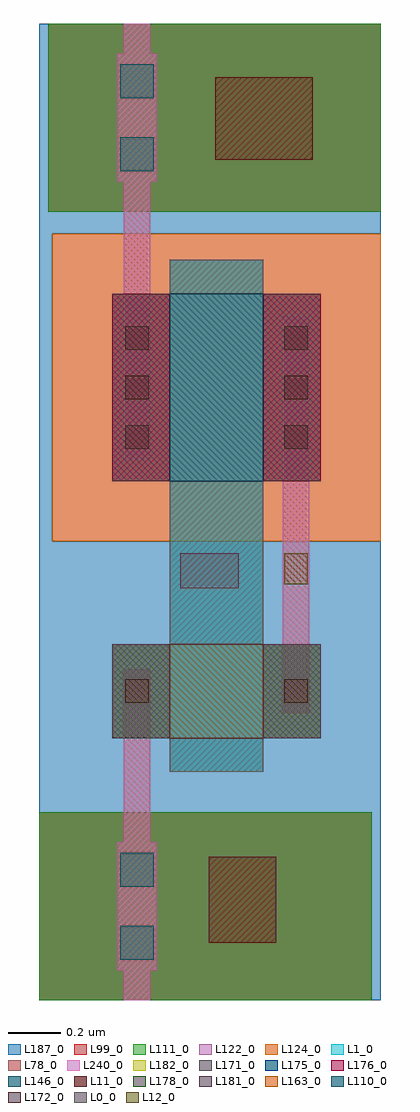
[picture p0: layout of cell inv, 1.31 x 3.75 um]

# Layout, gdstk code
import gdstk
lib = gdstk.Library(unit=1e-6, precision=1e-09)
def R(c, l, rs):  # rectangles x0, y0, x1, y1
    for r in rs: c.add(gdstk.rectangle(r[:2], r[2:], *l))
def A(c, l, x, y, w, h, nx, ny, dx, dy):  # array of equal rectangles
    R(c, l, [(x+i*dx, y+j*dy, x+i*dx+w, y+j*dy+h) for i in range(nx) for j in range(ny)])
def P(c, l, *ps):  # polygons
    for p in ps: c.add(gdstk.Polygon(p, *l))
L0_0 = (0, 0)
L1_0 = (1, 0)
L11_0 = (11, 0)
L12_0 = (12, 0)
L78_0 = (78, 0)
L99_0 = (99, 0)
L110_0 = (110, 0)
L111_0 = (111, 0)
L122_0 = (122, 0)
L124_0 = (124, 0)
L146_0 = (146, 0)
L163_0 = (163, 0)
L171_0 = (171, 0)
L172_0 = (172, 0)
L175_0 = (175, 0)
L176_0 = (176, 0)
L178_0 = (178, 0)
L181_0 = (181, 0)
L182_0 = (182, 0)
L187_0 = (187, 0)
L240_0 = (240, 0)

inv = lib.new_cell('inv')
R(inv, L0_0, [(-0.805,0.79,-0.58,0.925)])
R(inv, L1_0, [(-0.845,0.085,-0.485,2.05)])
R(inv, L11_0, [(-0.695,-0.57,-0.435,-0.24), (-0.67,2.435,-0.295,2.75)])
R(inv, L12_0, [(-0.405,0.805,-0.315,0.925)])
R(inv, L78_0, [(-0.41,0.31,-0.31,1.835)])
P(inv, L78_0, [(-0.92,2.955),(-0.92,2.84),(-0.895,2.84),(-0.895,2.35),(-0.92,2.35),(-0.92,1.285),(-1.02,1.285),(-1.02,2.35),(-1.045,2.35),(-1.045,2.84),(-1.02,2.84),(-1.02,2.955)],
  [(-0.92,0.48),(-0.92,-0.185),(-0.895,-0.185),(-0.895,-0.675),(-0.92,-0.675),(-0.92,-0.79),(-1.02,-0.79),(-1.02,-0.675),(-1.045,-0.675),(-1.045,-0.185),(-1.02,-0.185),(-1.02,0.48)])
R(inv, L99_0, [(-1.345,-0.79,-0.07,-0.07), (-1.31,2.235,-0.035,2.955)])
R(inv, L110_0, [(-1.035,-0.635,-0.905,-0.505), (-1.035,-0.355,-0.905,-0.225), (-1.035,2.39,-0.905,2.52), (-1.035,2.67,-0.905,2.8)])
R(inv, L111_0, [(-1.345,-0.79,-0.07,-0.07), (-1.31,2.235,-0.035,2.955)])
R(inv, L122_0, [(-1.295,0.97,-0.035,2.15)])
R(inv, L124_0, [(-1.295,0.97,-0.035,2.15)])
R(inv, L146_0, [(-0.845,1.2,-0.485,1.92)])
R(inv, L163_0, [(-0.845,0.215,-0.485,0.575)])
R(inv, L171_0, [(-0.845,0.085,-0.485,0.215), (-0.845,0.575,-0.485,1.2), (-0.845,1.92,-0.485,2.05)])
A(inv, L172_0, -1.015, 1.325, 0.09, 0.09, 1, 3, 0, 0.19)
A(inv, L172_0, -0.405, 1.325, 0.09, 0.09, 1, 3, 0, 0.19)
R(inv, L172_0, [(-1.015,0.35,-0.925,0.44), (-0.405,0.35,-0.315,0.44)])
R(inv, L175_0, [(-1.065,1.2,-0.845,1.92), (-0.485,1.2,-0.265,1.92)])
R(inv, L176_0, [(-1.065,1.2,-0.845,1.92), (-0.485,1.2,-0.265,1.92)])
R(inv, L178_0, [(-1.065,0.215,-0.845,0.575), (-0.485,0.215,-0.265,0.575)])
R(inv, L181_0, [(-1.065,0.215,-0.845,0.575), (-0.485,0.215,-0.265,0.575)])
R(inv, L182_0, [(-1.065,0.215,-0.845,0.575), (-0.485,0.215,-0.265,0.575), (-1.065,1.2,-0.845,1.92), (-0.485,1.2,-0.265,1.92)])
P(inv, L187_0, [(-0.035,2.955),(-0.035,2.15),(-1.295,2.15),(-1.295,0.97),(-0.035,0.97),(-0.035,-0.79),(-1.345,-0.79),(-1.345,2.955)])
R(inv, L240_0, [(-0.41,0.31,-0.31,1.835)])
P(inv, L240_0, [(-0.92,2.955),(-0.92,2.84),(-0.895,2.84),(-0.895,2.35),(-0.92,2.35),(-0.92,1.285),(-1.02,1.285),(-1.02,2.35),(-1.045,2.35),(-1.045,2.84),(-1.02,2.84),(-1.02,2.955)],
  [(-0.92,0.48),(-0.92,-0.185),(-0.895,-0.185),(-0.895,-0.675),(-0.92,-0.675),(-0.92,-0.79),(-1.02,-0.79),(-1.02,-0.675),(-1.045,-0.675),(-1.045,-0.185),(-1.02,-0.185),(-1.02,0.48)])

lib.write_gds('inv.gds')
